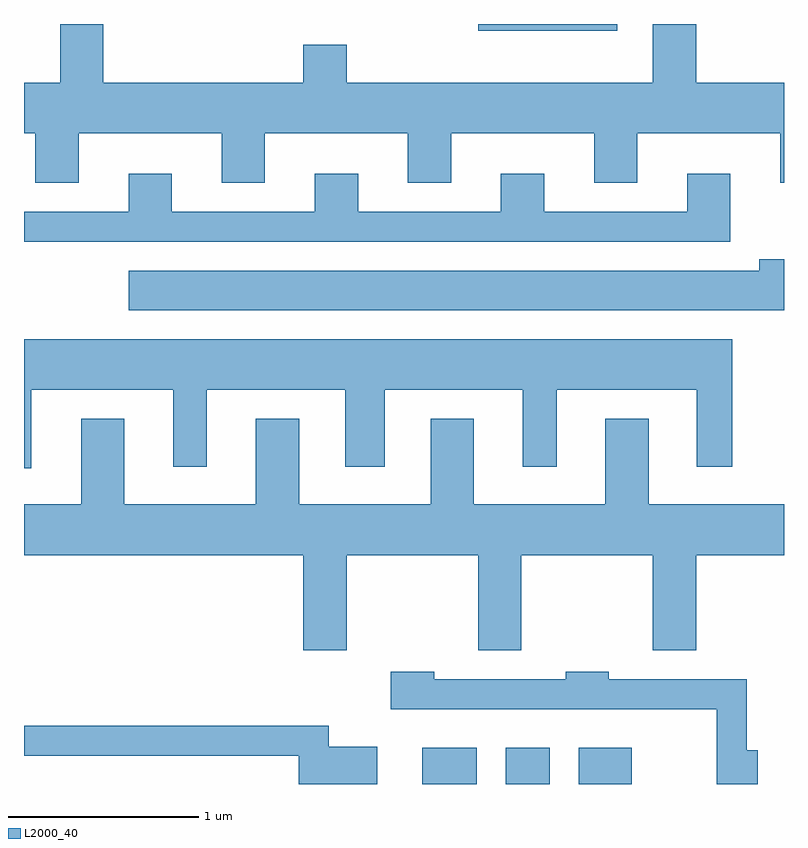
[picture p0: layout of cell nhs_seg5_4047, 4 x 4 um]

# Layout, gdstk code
import gdstk
lib = gdstk.Library(unit=1e-6, precision=1e-09)
def R(c, l, rs):  # rectangles x0, y0, x1, y1
    for r in rs: c.add(gdstk.rectangle(r[:2], r[2:], *l))
def P(c, l, *ps):  # polygons
    for p in ps: c.add(gdstk.Polygon(p, *l))
L2000_40 = (2000, 40)

nhs_seg5_4047 = lib.new_cell('nhs_seg5_4047')
R(nhs_seg5_4047, L2000_40, [(307.706,1420.072,307.994,1420.264), (308.146,1420.072,308.379,1420.264), (308.531,1420.072,308.809,1420.264), (308.001,1424.036,308.734,1424.072)])
P(nhs_seg5_4047, L2000_40, [(305.899,1423.496),(306.651,1423.496),(306.651,1423.236),(306.879,1423.236),(306.879,1423.496),(307.631,1423.496),(307.631,1423.236),(307.859,1423.236),(307.859,1423.496),(308.611,1423.496),(308.611,1423.236),(308.839,1423.236),(308.839,1423.496),(309.591,1423.496),(309.591,1423.236),(309.611,1423.236),(309.611,1423.764),(309.149,1423.764),(309.149,1424.072),(308.921,1424.072),(308.921,1423.764),(307.309,1423.764),(307.309,1423.964),(307.081,1423.964),(307.081,1423.764),(306.029,1423.764),(306.029,1424.072),(305.801,1424.072),(305.801,1423.764),(305.611,1423.764),(305.611,1423.496),(305.671,1423.496),(305.671,1423.236),(305.899,1423.236)],
  [(309.329,1423.284),(309.101,1423.284),(309.101,1423.084),(308.349,1423.084),(308.349,1423.284),(308.121,1423.284),(308.121,1423.084),(307.369,1423.084),(307.369,1423.284),(307.141,1423.284),(307.141,1423.084),(306.389,1423.084),(306.389,1423.284),(306.161,1423.284),(306.161,1423.084),(305.611,1423.084),(305.611,1422.926),(309.329,1422.926)],
  [(309.611,1422.834),(309.481,1422.834),(309.481,1422.774),(306.161,1422.774),(306.161,1422.566),(309.611,1422.566)],
  [(305.649,1422.146),(306.396,1422.146),(306.396,1421.741),(306.574,1421.741),(306.574,1422.146),(307.301,1422.146),(307.301,1421.741),(307.509,1421.741),(307.509,1422.146),(308.236,1422.146),(308.236,1421.741),(308.414,1421.741),(308.414,1422.146),(309.151,1422.146),(309.151,1421.741),(309.339,1421.741),(309.339,1422.414),(305.611,1422.414),(305.611,1421.733),(305.649,1421.733)],
  [(307.309,1421.276),(308.001,1421.276),(308.001,1420.776),(308.229,1420.776),(308.229,1421.276),(308.921,1421.276),(308.921,1420.776),(309.149,1420.776),(309.149,1421.276),(309.611,1421.276),(309.611,1421.544),(308.899,1421.544),(308.899,1421.994),(308.671,1421.994),(308.671,1421.544),(307.979,1421.544),(307.979,1421.994),(307.751,1421.994),(307.751,1421.544),(307.059,1421.544),(307.059,1421.994),(306.831,1421.994),(306.831,1421.544),(306.139,1421.544),(306.139,1421.994),(305.911,1421.994),(305.911,1421.544),(305.611,1421.544),(305.611,1421.276),(307.081,1421.276),(307.081,1420.776),(307.309,1420.776)],
  [(309.474,1420.249),(309.414,1420.249),(309.414,1420.624),(308.689,1420.624),(308.689,1420.664),(308.461,1420.664),(308.461,1420.624),(307.769,1420.624),(307.769,1420.664),(307.541,1420.664),(307.541,1420.466),(309.256,1420.466),(309.256,1420.072),(309.474,1420.072)],
  [(307.469,1420.269),(307.214,1420.269),(307.214,1420.379),(305.611,1420.379),(305.611,1420.221),(307.056,1420.221),(307.056,1420.072),(307.469,1420.072)])

lib.write_gds('nhs_seg5_4047.gds')
